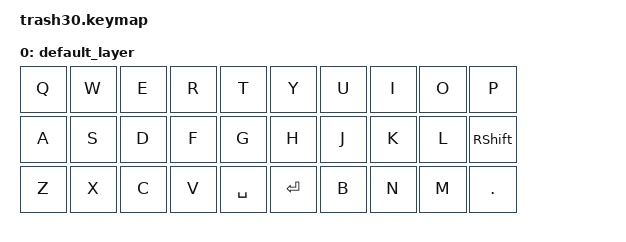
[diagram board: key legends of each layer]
#include <behaviors.dtsi>
#include <dt-bindings/zmk/keys.h>

/ {
	keymap {
		compatible = "zmk,keymap";

		default_layer {
// --------------------------------------------------------------------------
// |  Q   |  W   |  E   |  R   |  T      |   Y     |  U   |  I   |  O   |  P      |
// |  A   |  S   |  D   |  F   |  G      |   H     |  J   |  K   |  L   |  SHIFT  |
// |  Z   |  X   |  C   |  V   |  SPACE  |  ENTER  |  B   |  N   |  M   |  .      |

			bindings = <
	&kp Q    &kp W    &kp E     &kp R  &kp T  	&kp Y     &kp U  &kp I     &kp O    &kp P    
	&kp A    &kp S    &kp D     &kp F  &kp G  	&kp H     &kp J  &kp K     &kp L    &kp RSHFT 
	&kp Z    &kp X    &kp C     &kp V  &kp SPACE 	&kp RET	  &kp B  &kp N     &kp M    &kp DOT 
	
			>;
		};
	};
};
